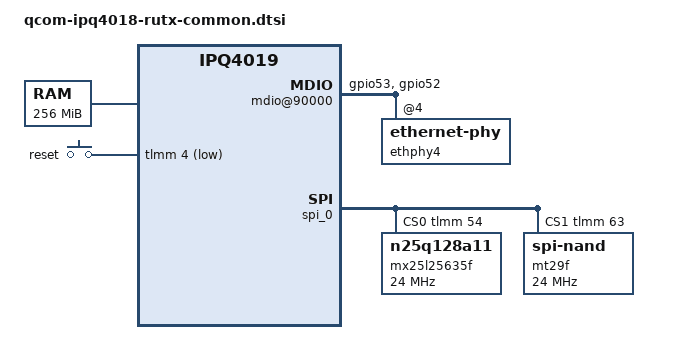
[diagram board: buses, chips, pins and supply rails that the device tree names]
#include "qcom-ipq4019-ap.dk01.1.dtsi"
#include <dt-bindings/gpio/gpio.h>
#include "platform_name.dtsi"

/ {
	compatible = "teltonika,rutx", "qcom,ap-dk01.1-c2", "qcom,ipq4019";

	memory {
		device_type = "memory";
		reg = <0x80000000 0x10000000>;
	};

	soc {
		mdio@90000 {
			status = "ok";
			pinctrl-0 = <&mdio_pins>;
			pinctrl-names = "default";
			phy-reset-gpio = <&tlmm 62 0>;

			ethphy4: ethernet-phy@4 {
				qcom,fiber-enable;
			};
		};

		pinctrl@1000000 {
			mdio_pins: mdio_pinmux {
				mux_1 {
					pins = "gpio53";
					function = "mdio";
					bias-pull-up;
				};
				mux_2 {
					pins = "gpio52";
					function = "mdc";
					bias-pull-up;
				};
			};
		};

		spi_0: spi@78b5000 {
			cs-gpios = <&tlmm 54 0>, <&tlmm 63 0>;
			num-cs = <2>;

			mx25l25635f@0 {
				compatible = "n25q128a11", "mx25l25635f", "jedec,spi-nor";
				#address-cells = <1>;
				#size-cells = <1>;
				reg = <0>;
				spi-max-frequency = <24000000>;
			};

			mt29f@1 {
				#address-cells = <1>;
				#size-cells = <1>;
				compatible = "spi-nand","spinand,mt29f";
				reg = <1>;
				spi-max-frequency = <24000000>;
			};
		};

		gpio_keys {
			compatible = "gpio-keys";

			reset {
				label = "reset";
				gpios = <&tlmm 4 1>;
				linux,code = <0x198>;
			};
		};

		usb3: usb3@8af8800 {
			dwc3@8a00000 {
				snps,dis_u2_susphy_quirk;
				snps,dis_u3_susphy_quirk;
			};
		};

		usb2: usb2@60f8800 {
			dwc3@6000000 {
				snps,dis_u2_susphy_quirk;
			};
		};
	};
};
